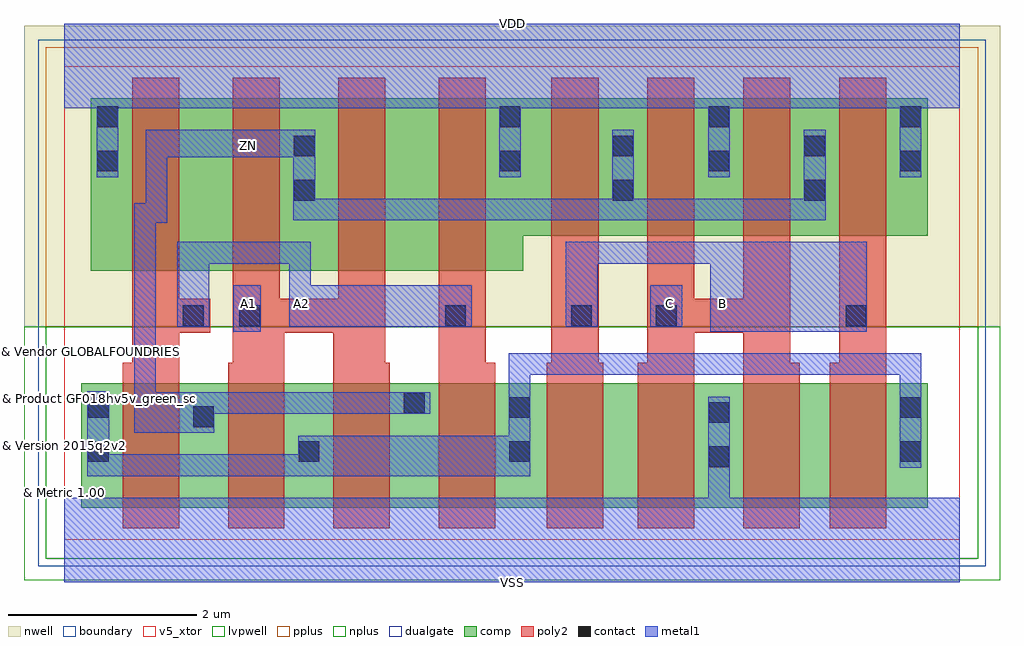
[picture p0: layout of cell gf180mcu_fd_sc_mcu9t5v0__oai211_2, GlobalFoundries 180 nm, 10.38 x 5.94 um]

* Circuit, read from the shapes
.subckt gf180mcu_fd_sc_mcu9t5v0__oai211_2 A1 A2 B C VDD VSS ZN
XM1 ZN A2 n1 VSUBS nfet_05v0 w=1.32u l=0.6u m=2
XM2 n1 A1 ZN VSUBS nfet_05v0 w=1.32u l=0.6u m=2
XM3 n2 B n1 VSUBS nfet_05v0 w=1.32u l=0.6u
XM4 VSS C n2 VSUBS nfet_05v0 w=1.32u l=0.6u
XM5 n3 C VSS VSUBS nfet_05v0 w=1.32u l=0.6u
XM6 n1 B n3 VSUBS nfet_05v0 w=1.32u l=0.6u
XM7 n4 A2 VDD n5 pfet_05v0 w=1.83u l=0.5u
XM8 ZN A1 n4 n5 pfet_05v0 w=1.83u l=0.5u
XM9 n6 A1 ZN n5 pfet_05v0 w=1.83u l=0.5u
XM10 VDD A2 n6 n5 pfet_05v0 w=1.83u l=0.5u
XM11 ZN B VDD n5 pfet_05v0 w=1.46u l=0.5u m=2
XM12 VDD C ZN n5 pfet_05v0 w=1.46u l=0.5u m=2
.ends

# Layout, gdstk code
import gdstk
lib = gdstk.Library(unit=1e-6, precision=1e-09)
def R(c, l, rs):  # rectangles x0, y0, x1, y1
    for r in rs: c.add(gdstk.rectangle(r[:2], r[2:], *l))
def A(c, l, x, y, w, h, nx, ny, dx, dy):  # array of equal rectangles
    R(c, l, [(x+i*dx, y+j*dy, x+i*dx+w, y+j*dy+h) for i in range(nx) for j in range(ny)])
def P(c, l, *ps):  # polygons
    for p in ps: c.add(gdstk.Polygon(p, *l))
boundary = (0, 0)
nwell = (21, 0)
comp = (22, 0)
poly2 = (30, 0)
pplus = (31, 0)
nplus = (32, 0)
contact = (33, 0)
metal1 = (34, 0)
dualgate = (55, 0)
v5_xtor = (112, 1)
lvpwell = (204, 0)

gf180mcu_fd_sc_mcu9t5v0_ = lib.new_cell('gf180mcu_fd_sc_mcu9t5v0__oai211_2')
R(gf180mcu_fd_sc_mcu9t5v0_, boundary, [(0,0,9.52,5.04)])
R(gf180mcu_fd_sc_mcu9t5v0_, nwell, [(-0.43,2.265,9.95,5.47)])
R(gf180mcu_fd_sc_mcu9t5v0_, comp, [(0.18,0.345,9.18,1.665)])
P(gf180mcu_fd_sc_mcu9t5v0_, comp, [(0.28,2.865),(0.28,4.695),(9.18,4.695),(9.18,3.235),(4.88,3.235),(4.88,2.865)])
P(gf180mcu_fd_sc_mcu9t5v0_, poly2, [(0.62,0.125),(0.62,1.885),(0.72,1.885),(0.72,4.915),(1.22,4.915),(1.22,2.565),(1.55,2.565),(1.55,2.205),(1.22,2.205),(1.22,0.125)],
  [(1.74,0.125),(1.74,1.885),(1.79,1.885),(1.79,4.915),(2.29,4.915),(2.29,2.565),(2.91,2.565),(2.91,4.915),(3.41,4.915),(3.41,1.885),(3.46,1.885),(3.46,0.125),(2.86,0.125),(2.86,2.205),(2.34,2.205),(2.34,0.125)],
  [(3.98,0.125),(3.98,4.915),(4.48,4.915),(4.48,1.885),(4.58,1.885),(4.58,0.125)],
  [(5.13,0.125),(5.13,1.885),(5.18,1.885),(5.18,4.915),(5.68,4.915),(5.68,1.885),(5.73,1.885),(5.73,0.125)],
  [(6.1,0.125),(6.1,1.885),(6.2,1.885),(6.2,4.915),(6.7,4.915),(6.7,2.565),(7.22,2.565),(7.22,4.915),(7.72,4.915),(7.72,1.885),(7.82,1.885),(7.82,0.125),(7.22,0.125),(7.22,2.205),(6.7,2.205),(6.7,0.125)],
  [(8.14,0.125),(8.14,1.885),(8.24,1.885),(8.24,4.915),(8.74,4.915),(8.74,0.125)])
R(gf180mcu_fd_sc_mcu9t5v0_, pplus, [(-0.2,2.265,9.72,5.24)])
R(gf180mcu_fd_sc_mcu9t5v0_, nplus, [(-0.2,-0.2,9.72,2.265)])
A(gf180mcu_fd_sc_mcu9t5v0_, contact, 0.25, 0.83, 0.22, 0.22, 3, 1, 2.24, 0)
R(gf180mcu_fd_sc_mcu9t5v0_, contact, [(6.85,0.775,7.07,0.995), (8.89,0.83,9.11,1.05), (1.37,1.2,1.59,1.42), (6.85,1.245,7.07,1.465), (0.25,1.3,0.47,1.52), (4.73,1.3,4.95,1.52), (8.89,1.3,9.11,1.52), (3.61,1.345,3.83,1.565), (1.26,2.275,1.48,2.495), (1.86,2.275,2.08,2.495), (4.05,2.275,4.27,2.495), (5.39,2.275,5.61,2.495), (6.29,2.275,6.51,2.495), (8.31,2.275,8.53,2.495), (2.44,3.61,2.66,3.83), (5.83,3.61,6.05,3.83), (7.87,3.61,8.09,3.83), (0.35,3.92,0.57,4.14), (4.63,3.92,4.85,4.14), (6.85,3.92,7.07,4.14), (8.89,3.92,9.11,4.14), (2.44,4.08,2.66,4.3), (5.83,4.08,6.05,4.3), (7.87,4.08,8.09,4.3), (0.35,4.39,0.57,4.61), (4.63,4.39,4.85,4.61), (6.85,4.39,7.07,4.61), (8.89,4.39,9.11,4.61)])
R(gf180mcu_fd_sc_mcu9t5v0_, metal1, [(1.795,2.215,2.09,2.71), (6.23,2.27,6.57,2.71)])
P(gf180mcu_fd_sc_mcu9t5v0_, metal1, [(1.2,2.27),(1.2,3.17),(2.62,3.17),(2.62,2.71),(4.33,2.71),(4.33,2.27),(2.39,2.27),(2.39,2.94),(1.54,2.94),(1.54,2.27)],
  [(0.74,1.14),(0.74,3.58),(0.865,3.58),(0.865,4.36),(2.665,4.36),(2.665,3.63),(5.825,3.63),(5.825,4.36),(6.055,4.36),(6.055,3.63),(7.865,3.63),(7.865,4.36),(8.095,4.36),(8.095,3.4),(2.435,3.4),(2.435,4.07),(1.095,4.07),(1.095,3.375),(0.97,3.375),(0.97,1.57),(3.89,1.57),(3.89,1.34),(1.595,1.34),(1.595,1.14)],
  [(6.87,2.215),(6.87,2.94),(5.67,2.94),(5.67,2.27),(5.33,2.27),(5.33,3.17),(8.535,3.17),(8.535,2.215)],
  [(0.245,0.68),(0.245,1.58),(0.475,1.58),(0.475,0.91),(2.485,0.91),(2.485,1.11),(4.725,1.11),(4.725,1.985),(9.115,1.985),(9.115,0.77),(8.885,0.77),(8.885,1.755),(4.955,1.755),(4.955,0.68)],
  [(0,-0.45),(0,0.45),(6.845,0.45),(6.845,1.525),(7.075,1.525),(7.075,0.45),(9.52,0.45),(9.52,-0.45)],
  [(0.345,3.86),(0.345,4.59),(0,4.59),(0,5.49),(9.52,5.49),(9.52,4.59),(9.115,4.59),(9.115,3.86),(8.885,3.86),(8.885,4.59),(7.075,4.59),(7.075,3.86),(6.845,3.86),(6.845,4.59),(4.855,4.59),(4.855,3.86),(4.625,3.86),(4.625,4.59),(0.575,4.59),(0.575,3.86)])
R(gf180mcu_fd_sc_mcu9t5v0_, dualgate, [(-0.28,-0.28,9.8,5.32)])
R(gf180mcu_fd_sc_mcu9t5v0_, v5_xtor, [(0,0,9.52,5.04)])
R(gf180mcu_fd_sc_mcu9t5v0_, lvpwell, [(-0.43,-0.43,9.95,2.265)])
gf180mcu_fd_sc_mcu9t5v0_.add(gdstk.Label('A1', (1.96,2.52), layer=34, texttype=10))
gf180mcu_fd_sc_mcu9t5v0_.add(gdstk.Label('A2', (2.52,2.52), layer=34, texttype=10))
gf180mcu_fd_sc_mcu9t5v0_.add(gdstk.Label('B', (7,2.52), layer=34, texttype=10))
gf180mcu_fd_sc_mcu9t5v0_.add(gdstk.Label('C', (6.44,2.52), layer=34, texttype=10))
gf180mcu_fd_sc_mcu9t5v0_.add(gdstk.Label('VDD', (4.76,5.49), layer=34, texttype=10))
gf180mcu_fd_sc_mcu9t5v0_.add(gdstk.Label('VSS', (4.76,-0.45), layer=34, texttype=10))
gf180mcu_fd_sc_mcu9t5v0_.add(gdstk.Label('ZN', (1.96,4.2), layer=34, texttype=10))
gf180mcu_fd_sc_mcu9t5v0_.add(gdstk.Label('& Vendor GLOBALFOUNDRIES', (0,2), layer=63, texttype=63))
gf180mcu_fd_sc_mcu9t5v0_.add(gdstk.Label('& Product GF018hv5v_green_sc9', (0,1.5), layer=63, texttype=63))
gf180mcu_fd_sc_mcu9t5v0_.add(gdstk.Label('& Version 2015q2v2', (0,1), layer=63, texttype=63))
gf180mcu_fd_sc_mcu9t5v0_.add(gdstk.Label('& Metric 1.00', (0,0.5), layer=63, texttype=63))

lib.write_gds('gf180mcu_fd_sc_mcu9t5v0__oai211_2.gds')
